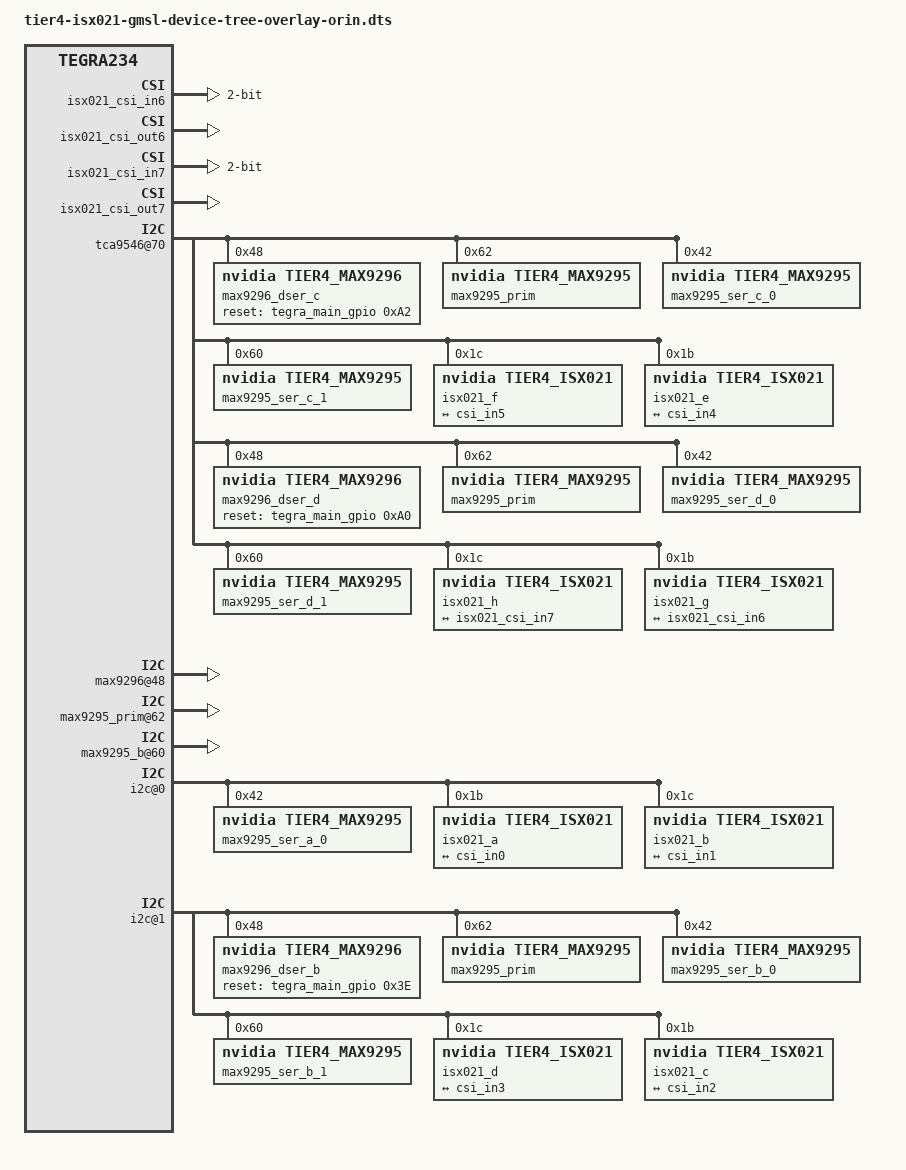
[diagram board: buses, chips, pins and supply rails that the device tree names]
/dts-v1/;
/plugin/;


//CAM0_RST_L 7 * 8 + 3, 0x3B
//CAM0_PWDN 7 * 8 + 6, 0x3E
//CAMERA_I2C_MUX_BUS 0x1E + x
//GPIO_ACTIVE_HIGH 0
//CAM1_RST_L 20 * 8 + 1, 0xA1

/ {
  overlay-name = "TIERIV ISX021 GMSL2 Camera Device Tree Overlay";
  jetson-header-name = "Jetson AGX CSI Connector";
  compatible = "nvidia,p3737-0000+p3701-0000", "nvidia,tegra234", "nvidia,tegra23x";

  fragment@1{
    target-path = "/tegra-capture-vi";
    __overlay__ {
      num-channels = <0x08>;
    };
  };

  fragment@1_a{
//    target-path = "/tegra-capture-vi/ports";
    target = <&capture_vi_base>;
    __overlay__ {
      ports {
        port@6 {
          reg = <6>;
          status = "okay";
          vi_in6: endpoint {
            status = "okay";
            vc-id = <0>;
            port-index = <5>;
            bus-width = <2>;
            remote-endpoint = <&isx021_csi_out6>;
          };
        };
      
        port@7 {
          reg = <7>;
          status = "okay";
          vi_in7: endpoint {
            status = "okay";
            vc-id = <1>;
            port-index = <5>;
            bus-width = <2>;
            remote-endpoint = <&isx021_csi_out7>;
          };
        };
      };  
    };  
  };  

  //diff view    
  fragment@2{
    target-path = "/tegra-capture-vi/ports/port@0";
    __overlay__ {
      status = "okay";
    };
  };

  fragment@3{
    target-path = "/tegra-capture-vi/ports/port@0/endpoint";
    __overlay__ {
      status = "okay";
      port-index = <0>;
      vc-id = <0>;
      bus-width = <2>;
    };
  };

  fragment@4{
    target-path = "/tegra-capture-vi/ports/port@1";
    __overlay__ {
      status = "okay";
    };
  };

  fragment@5{
    target-path = "/tegra-capture-vi/ports/port@1/endpoint";
    __overlay__ {
      status = "okay";
      port-index = <0>;
      vc-id = <1>;
      bus-width = <2>;
    };
  };
  
fragment@6{
    target-path = "/tegra-capture-vi/ports/port@2";
    __overlay__ {
      status = "okay";
    
  };
  };
  
  fragment@7{
    target-path = "/tegra-capture-vi/ports/port@2/endpoint";
    __overlay__ {
      status = "okay";
      vc-id = <0>;
      port-index = <2>;
      bus-width = <2>;
    };
  };
  
  fragment@8{
    target-path = "/tegra-capture-vi/ports/port@3";
    __overlay__ {
      status = "okay";
    };
  };
  
  fragment@9{
    target-path = "/tegra-capture-vi/ports/port@3/endpoint";
    __overlay__ {
      status = "okay";
      vc-id = <1>;
      port-index = <2>;
      bus-width = <2>;
    };
  };

  fragment@8a{
    target-path = "/tegra-capture-vi/ports/port@4";
    __overlay__ {
      status = "okay";
    };
  };
  
  fragment@9a{
    target-path = "/tegra-capture-vi/ports/port@4/endpoint";
    __overlay__ {
      status = "okay";
      vc-id = <0>;
      port-index = <4>;
      bus-width = <2>;
    };
  };

  fragment@8b{
    target-path = "/tegra-capture-vi/ports/port@5";
    __overlay__ {
      status = "okay";
    };
  };
  
  fragment@9b{
    target-path = "/tegra-capture-vi/ports/port@5/endpoint";
    __overlay__ {
      status = "okay";
      vc-id = <1>;
      port-index = <4>;
      bus-width = <2>;
    };
  };


/**********************/


  fragment@10{
    target-path = "/host1x@13e00000/nvcsi@15a00000/channel@0";
    __overlay__ {
      status = "okay";
    };
  };
  fragment@11{
    target-path = "/host1x@13e00000/nvcsi@15a00000/channel@0/ports/port@0";
    __overlay__ {
      status = "okay";
    };
  };
  fragment@12{
    // target = csi_in0
    target-path = "/host1x@13e00000/nvcsi@15a00000/channel@0/ports/port@0/endpoint@0";
    __overlay__ {
      status = "okay";
      bus-width = <0x02>;
      remote-endpoint = <&isx021_out0>;
    };
  };

  fragment@13{
    target-path = "/host1x@13e00000/nvcsi@15a00000/channel@0/ports/port@1";
    __overlay__ {
      status = "okay";
    };
  };

  fragment@14{
    // target = csi_out0
    target-path = "/host1x@13e00000/nvcsi@15a00000/channel@0/ports/port@1/endpoint@1";
    __overlay__ {
      status = "okay";
      remote-endpoint = <&vi_in0>;
    };
  };

  // channel@1
  fragment@15{
    target-path = "/host1x@13e00000/nvcsi@15a00000/channel@1";
    __overlay__ {
      status = "okay";
    };
  };
  fragment@16{
    target-path = "/host1x@13e00000/nvcsi@15a00000/channel@1/ports/port@0";
    __overlay__ {
      status = "okay";
    };
  };
  fragment@17{
    // target = csi_in1
    target-path = "/host1x@13e00000/nvcsi@15a00000/channel@1/ports/port@0/endpoint@2";
    __overlay__ {
      status = "okay";
      port-index = <0x00>;
      bus-width = <0x02>;
      remote-endpoint = <&isx021_out1>;
    };
  };

  fragment@18{
    // target = csi_out1
    target-path = "/host1x@13e00000/nvcsi@15a00000/channel@1/ports/port@1/endpoint@3";
    __overlay__ {
      status = "okay";
      remote-endpoint = <&vi_in1>;
    };
  };

  // channel@2
  fragment@19{
    target-path = "/host1x@13e00000/nvcsi@15a00000/channel@2";
    __overlay__ {
      status = "okay";
    };
  };
  fragment@20{
    target-path = "/host1x@13e00000/nvcsi@15a00000/channel@2/ports/port@0";
    __overlay__ {
      status = "okay";
    };
  };
  fragment@21{
    // target = csi_in0
    target-path = "/host1x@13e00000/nvcsi@15a00000/channel@2/ports/port@0/endpoint@4";
    __overlay__ {
      status = "okay";
      port-index = <2>;
      bus-width = <2>;
      remote-endpoint = <&isx021_out2>;
    };
  };

  fragment@22{
    target-path = "/host1x@13e00000/nvcsi@15a00000/channel@2/ports/port@1";
    __overlay__ {
      status = "okay";
    };
  };

  fragment@23{
    // target = csi_out0
    target-path = "/host1x@13e00000/nvcsi@15a00000/channel@2/ports/port@1/endpoint@5";
    __overlay__ {
      status = "okay";
      remote-endpoint = <&vi_in2>;
    };
  };

  // channel@3
  fragment@24{
    target-path = "/host1x@13e00000/nvcsi@15a00000/channel@3";
    __overlay__ {
      status = "okay";
    };
  };
  fragment@25{
    target-path = "/host1x@13e00000/nvcsi@15a00000/channel@3/ports/port@0";
    __overlay__ {
      status = "okay";
    };
  };
  fragment@26{
    // target = csi_in0
    target-path = "/host1x@13e00000/nvcsi@15a00000/channel@3/ports/port@0/endpoint@6";
    __overlay__ {
      status = "okay";
      port-index = <2>;
      bus-width = <2>;
      remote-endpoint = <&isx021_out3>;
    };
  };

  fragment@27{
    target-path = "/host1x@13e00000/nvcsi@15a00000/channel@3/ports/port@1";
    __overlay__ {
      status = "okay";
    };
  };

  fragment@28{
    // target = csi_out0
    target-path = "/host1x@13e00000/nvcsi@15a00000/channel@3/ports/port@1/endpoint@7";
    __overlay__ {
      status = "okay";
      remote-endpoint = <&vi_in3>;
    };
  };

  // channel@4
  fragment@24a{
    target-path = "/host1x@13e00000/nvcsi@15a00000/channel@4";
    __overlay__ {
      status = "okay";
    };
  };
  fragment@25a{
    target-path = "/host1x@13e00000/nvcsi@15a00000/channel@4/ports/port@0";
    __overlay__ {
      status = "okay";
    };
  };
  fragment@26a{
    // target = csi_in4
    target-path = "/host1x@13e00000/nvcsi@15a00000/channel@4/ports/port@0/endpoint@8";
    __overlay__ {
      status = "okay";
      port-index = <4>;
      bus-width = <2>;
      remote-endpoint = <&isx021_out4>;
    };
  };

  fragment@27a{
    target-path = "/host1x@13e00000/nvcsi@15a00000/channel@4/ports/port@1";
    __overlay__ {
      status = "okay";
    };
  };

  fragment@28a{
    // target = csi_out4
    target-path = "/host1x@13e00000/nvcsi@15a00000/channel@4/ports/port@1/endpoint@9";
    __overlay__ {
      status = "okay";
      remote-endpoint = <&vi_in4>;
    };
  };

  // channel@5
  fragment@24b{
    target-path = "/host1x@13e00000/nvcsi@15a00000/channel@5";
    __overlay__ {
      status = "okay";
    };
  };
  fragment@25b{
    target-path = "/host1x@13e00000/nvcsi@15a00000/channel@5/ports/port@0";
    __overlay__ {
      status = "okay";
    };
  };
  fragment@26b{
    // target = csi_in5
    target-path = "/host1x@13e00000/nvcsi@15a00000/channel@5/ports/port@0/endpoint@10";
    __overlay__ {
      status = "okay";
      port-index = <4>;
      bus-width = <2>;
      remote-endpoint = <&isx021_out5>;
    };
  };

  fragment@27b{
    target-path = "/host1x@13e00000/nvcsi@15a00000/channel@5/ports/port@1";
    __overlay__ {
      status = "okay";
    };
  };

  fragment@28b{
    // target = csi_out5
    target-path = "/host1x@13e00000/nvcsi@15a00000/channel@5/ports/port@1/endpoint@11";
    __overlay__ {
      status = "okay";
      remote-endpoint = <&vi_in5>;
    };
  };


  // channel@6-7
  fragment@29{
    target-path = "/host1x@13e00000/nvcsi@15a00000";
    __overlay__ {
      num-channels = <8>;
      max_lane_speed = <4000000>;
    };
  };

  fragment@29_a{
    target-path = "/host1x@13e00000/nvcsi@15a00000";
    __overlay__ {

      channel@6 {
        reg = <6>;
        status = "okay";
        ports {
          #address-cells = <1>;
          #size-cells = <0>;
          port@0 {
            status = "okay";
            reg = <0>;
            isx021_csi_in6: endpoint@12 {
              status = "okay";
              port-index = <5>;
              bus-width = <2>;
              remote-endpoint = <&isx021_out6>;
            };
          };
          port@1 {
            status = "okay";
            reg = <1>;
            isx021_csi_out6: endpoint@13 {
              status = "okay";
              remote-endpoint = <&vi_in6>;
            };
          };
        };
      };

      channel@7 {
        reg = <7>;
        status = "okay";
        ports {
          #address-cells = <1>;
          #size-cells = <0>;
          port@0 {
            status = "okay";
            reg = <0>;
            isx021_csi_in7: endpoint@14 {
              status = "okay";
              port-index = <5>;
              bus-width = <2>;
              remote-endpoint = <&isx021_out7>;
            };
          };
          port@1 {
            status = "okay";
            reg = <1>;
            isx021_csi_out7: endpoint@15 {
              status = "okay";
              remote-endpoint = <&vi_in7>;
            };
          };
        };
      };
    };
  };


  ////////////////////////////////////
  fragment@30{
    //tcp
    target-path = "/tegra-camera-platform";
    __overlay__ {
      num_csi_lanes = <0x04>;
      max_lane_speed = <4000000>;
    };
  };

  fragment@31{
    target-path = "/tegra-camera-platform/modules/module0";
    __overlay__ {
      badge = "isx021_rear";
      position = "rear";
      orientation = "1";
      status = "okay";
    };
  };

  fragment@32{
    target-path = "/tegra-camera-platform/modules/module0/drivernode0";
    __overlay__ {
      status = "okay";
      pcl_id = "v4l2_sensor";
      devname = "isx021 30-001b";
      proc-device-tree = "/proc/device-tree/i2c@3180000/tca9546@70/i2c@0/isx021_a@1b";
    };
  };

  fragment@33{
    target-path = "/tegra-camera-platform/modules/module1";
    __overlay__ {
      badge = "isx021_front";
      position = "front";
      orientation = "1";
      status = "okay";
    };
  };

  fragment@34{
    target-path = "/tegra-camera-platform/modules/module1/drivernode0";
    __overlay__ {
      status = "okay";
      pcl_id = "v4l2_sensor";
      devname = "isx021 30-001c";
      proc-device-tree = "/proc/device-tree/i2c@3180000/tca9546@70/i2c@0/isx021_b@1c";
    };
  };

  fragment@35{
    target-path = "/tegra-camera-platform/modules/module2";
    __overlay__ {
      badge = "isx021_topright";
      position = "topright";
      orientation = "1";
      status = "okay";
    };
  };

  fragment@36{
    target-path = "/tegra-camera-platform/modules/module2/drivernode0";
    __overlay__ {
      status = "okay";
      pcl_id = "v4l2_sensor";
      devname = "isx021 31-001b";
      proc-device-tree = "/proc/device-tree/i2c@3180000/tca9546@70/i2c@1/isx021_c@1b";
    };
  };

  fragment@37{
    target-path = "/tegra-camera-platform/modules/module3";
    __overlay__ {
      badge = "isx021_bottomright";
      position = "bottomright";
      orientation = "1";
      status = "okay";
    };
  };

  fragment@38{
    target-path = "/tegra-camera-platform/modules/module3/drivernode0";
    __overlay__ {
      status = "okay";
      pcl_id = "v4l2_sensor";
      devname = "isx021 31-001c";
      proc-device-tree = "/proc/device-tree/i2c@3180000/tca9546@70/i2c@1/isx021_d@1c";
    };
  };

  fragment@39{
    target-path = "/tegra-camera-platform/modules/module4";
    __overlay__ {
      badge = "isx021_topleft";
      position = "topleft";
      orientation = "1";
      status = "okay";
    };
  };

  fragment@40{
    target-path = "/tegra-camera-platform/modules/module4/drivernode0";
    __overlay__ {
      status = "okay";
      pcl_id = "v4l2_sensor";
      devname = "isx021 32-001b";
      proc-device-tree = "/proc/device-tree/i2c@3180000/tca9546@70/i2c@2/isx021_e@1b";
    };
  };

  fragment@41{
    target-path = "/tegra-camera-platform/modules/module5";
    __overlay__ {
      badge = "isx021_centerright";
      position = "centerright";
      orientation = "1";
      status = "okay";
    };
  };

  fragment@42{
    target-path = "/tegra-camera-platform/modules/module5/drivernode0";
    __overlay__ {
      status = "okay";
      pcl_id = "v4l2_sensor";
      devname = "isx021 32-001c";
      proc-device-tree = "/proc/device-tree/i2c@3180000/tca9546@70/i2c@2/isx021_f@1c";
    };
  };

  fragment@42a{
    target-path = "/tegra-camera-platform/modules";
    __overlay__ {
      module6 {
        badge = "isx021_centerleft";
        position = "centerleft";
        orientation = "1";
        status = "okay";
        drivernode0 {
          status = "okay";
          pcl_id = "v4l2_sensor";
          devname = "isx021 33-001b";
          proc-device-tree = "/proc/device-tree/i2c@3180000/tca9546@70/i2c@3/isx021_g@1b";
        };
      };

      module7 {
        badge = "isx021_bottomleft";
        position = "bottomleft";
        orientation = "1";
        status = "okay";
        drivernode0 {
          status = "okay";
          pcl_id = "v4l2_sensor";
          devname = "isx021 33-001c";
          proc-device-tree = "/proc/device-tree/i2c@3180000/tca9546@70/i2c@3/isx021_h@1c";
        };
      };
    };
  };

  // cam
  fragment@43{
    //cami2c/i2c@0
    target-path = "/i2c@3180000/tca9546@70";
    __overlay__ {
      status = "okay";
    };
  };

  fragment@44{
    //cami2c/i2c@0
    target-path = "/i2c@3180000/tca9546@70/i2c@0/max9296@48";
    __overlay__ {
      status = "okay";
      compatible = "nvidia,tier4_max9296";
    };
  };

  fragment@45{
    //cami2c/i2c@0
    target-path = "/i2c@3180000/tca9546@70/i2c@0/max9295_prim@62";
    __overlay__ {
      status = "okay";
      compatible = "nvidia,tier4_max9295";
    };
  };

  fragment@46{
    //cami2c/i2c@0
    target-path = "/i2c@3180000/tca9546@70/i2c@0/max9295_b@60";
    __overlay__ {
      status = "okay";
      compatible = "nvidia,tier4_max9295";
      nvidia,gmsl-dser-device = <&dser>;
    };
  };

  fragment@47{
    //cami2c/i2c@0
    target-path = "/i2c@3180000/tca9546@70/i2c@0";
    __overlay__ {
      max9295_ser_a_0: max9295_a@42 {
        compatible = "nvidia,tier4_max9295";
        reg = <0x42>;
        nvidia,gmsl-dser-device = <&max9296_dser>;
      };

      isx021_a@1b {
        //cvb
        status = "okay";
        def-addr = <0x1a>;
        mclk = "extperiph1";
        clocks = <&bpmp 36U>, <&bpmp 36U>;
        clock-names = "extperiph1", "pllp_grtba";
        nvidia,gmsl-ser-device = <&max9295_ser_a_0>;
        nvidia,gmsl-dser-device = <&max9296_dser>;

        // common modul;e
        compatible = "nvidia,tier4_isx021";
        reg = <0x1b>;

        /* Physical dimensions of sensor */
        physical_w = "15.0";
        physical_h = "12.5";
        reg_mux = <0>;
        sensor_model ="isx021";

        fsync-mode = "false";

        distortion-correction = "false";

        auto-exposure = "true";

        /* Defines number of frames to be dropped by driver internally after applying */
        /* sensor crop settings. Some sensors send corrupt frames after applying */
        /* crop co-ordinates */
        post_crop_frame_drop = "0";

        /* Convert Gain to unit of dB (decibel) befor passing to kernel driver */
        use_decibel_gain = "true";

        /* enable CID_SENSOR_MODE_ID for sensor modes selection */
        use_sensor_mode_id = "true";

        mode0 {
          /*mode ISX021_MODE_1920X1280_CROP_30FPS*/
          mclk_khz = "24000";
          num_lanes = "2";
          tegra_sinterface = "serial_a";
          vc_id = "0";
          discontinuous_clk = "no";
          dpcm_enable = "false";
          cil_settletime = "0";
          dynamic_pixel_bit_depth = "16";
          csi_pixel_bit_depth = "16";
          mode_type = "yuv";
          pixel_phase = "uyvy";

          active_w = "1920";
          active_h = "1280";
          readout_orientation = "0";
          line_length = "2250";
          inherent_gain = "1";

          pix_clk_hz = "74250000";
          serdes_pix_clk_hz =   "180000000";

          gain_factor = "10";
          min_gain_val = "0";                       /* dB */
          max_gain_val = "300";                         /* dB */
          step_gain_val = "3";                      /* 0.3 */
          default_gain = "0";
          min_hdr_ratio = "1";
          max_hdr_ratio = "1";
          framerate_factor = "1000000";
          min_framerate = "30000000";
          max_framerate = "30000000";
          step_framerate = "1";
          default_framerate = "30000000";
          exposure_factor = "1000000";
          min_exp_time = "24";                      /* us 1 line */
          max_exp_time = "33333";
          step_exp_time = "1";
          default_exp_time = "33333";                   /* us */
          embedded_metadata_height = "0";
        };
        ports {
          #address-cells = <1>;
          #size-cells = <0>;
          port@0 {
            reg = <0>;
            isx021_out0: endpoint {
              vc-id = <0>;
              port-index = <0>;
              bus-width = <2>;
              remote-endpoint = <&csi_in0>;
            };
          };
        };

        gmsl-link {
          src-csi-port = "b";       /* Port at which sensor is connected to its serializer device. */
          dst-csi-port = "a";       /* Destination CSI port on the Jetson side, connected at deserializer. */
          serdes-csi-link = "a";    /* GMSL link sensor/serializer connected */
          csi-mode = "1x4";     /*  to sensor CSI mode. */
          st-vc = <0>;          /* Sensor source default VC ID: 0 unless overridden by sensor. */
          vc-id = <0>;          /* Destination VC ID, assigned to sensor stream by deserializer. */
          num-lanes = <2>;      /* Number of CSI lanes used. */
          streams = "ued-u1", "yuv8"; /* Types of streams sensor is streaming. */
        };
      };

      isx021_b@1c {
        status = "okay";
        def-addr = <0x1a>;
        /* Define any required hw resources needed by driver */
        /* ie. clocks, io pins, power sources */
        clocks = <&bpmp 36U>, <&bpmp 36U>;
        clock-names = "extperiph1", "pllp_grtba";
        mclk = "extperiph1";
        nvidia,gmsl-ser-device = <&max9295_ser1>;
        nvidia,gmsl-dser-device = <&max9296_dser>;

        compatible = "nvidia,tier4_isx021";
        reg = <0x1c>;

        /* Physical dimensions of sensor */
        physical_w = "15.0";
        physical_h = "12.5";
        reg_mux = <0>;
        sensor_model ="isx021";

        fsync-mode = "false";

        distortion-correction = "false";

        auto-exposure = "true";

        /* Defines number of frames to be dropped by driver internally after applying */
        /* sensor crop settings. Some sensors send corrupt frames after applying */
        /* crop co-ordinates */
        post_crop_frame_drop = "0";

        /* Convert Gain to unit of dB (decibel) befor passing to kernel driver */
        use_decibel_gain = "true";

        /* enable CID_SENSOR_MODE_ID for sensor modes selection */
        use_sensor_mode_id = "true";

        mode0 {
          /*mode ISX021_MODE_1920X1280_CROP_30FPS*/
          mclk_khz = "24000";
          num_lanes = "2";
          tegra_sinterface = "serial_a";
          vc_id = "1";
          discontinuous_clk = "no";
          dpcm_enable = "false";
          cil_settletime = "0";
          dynamic_pixel_bit_depth = "16";
          csi_pixel_bit_depth = "16";
          mode_type = "yuv";
          pixel_phase = "uyvy";

          active_w = "1920";
          active_h = "1280";
          readout_orientation = "0";
          line_length = "2250";
          inherent_gain = "1";

          pix_clk_hz = "74250000";
          serdes_pix_clk_hz =   "180000000";

          gain_factor = "10";
          min_gain_val = "0";                           /* dB */
          max_gain_val = "300";                             /* dB */
          step_gain_val = "3";                          /* 0.3 */
          default_gain = "0";
          min_hdr_ratio = "1";
          max_hdr_ratio = "1";
          framerate_factor = "1000000";
          min_framerate = "30000000";
          max_framerate = "30000000";
          step_framerate = "1";
          default_framerate = "30000000";
          exposure_factor = "1000000";
          min_exp_time = "24";                          /* us 1 line */
          max_exp_time = "33333";
          step_exp_time = "1";
          default_exp_time = "33333";                       /* us */
          embedded_metadata_height = "0";
        };
        ports {
          #address-cells = <1>;
          #size-cells = <0>;
          port@0 {
            reg = <0>;
            isx021_out1: endpoint {
              vc-id = <1>;
              port-index = <0>;
              bus-width = <2>;
              remote-endpoint = <&csi_in1>;
            };
          };
        };
        gmsl-link {
          src-csi-port = "b";
          dst-csi-port = "a";
          serdes-csi-link = "b";
          csi-mode = "1x4";
          st-vc = <0>;
          vc-id = <1>;
          num-lanes = <2>;
          streams = "ued-u1","yuv8";
        };
      };
    };
  };


  fragment@48{
    target-path = "/i2c@3180000/tca9546@70/i2c@1";
    __overlay__ {
        reg = <1>;
        i2c-mux,deselect-on-exit;
        #address-cells = <0x01>;
        #size-cells = <0x00>;

        max9296_dser_b: max9296@48 {
          compatible = "nvidia,tier4_max9296";
          reg = <0x48>;
          status = "okay";
         csi-mode = "2x4";
          max-src = <2>;
          //reset-gpios = <&tegra_main_gpio CAM0_PWDN GPIO_ACTIVE_HIGH>;
          reset-gpios = <&tegra_main_gpio 0x3E 0x0>;
        };
        max9295_prim@62 {
          compatible = "nvidia,tier4_max9295";
          status = "okay";
          reg = <0x62>;
          is-prim-ser;
        };
        max9295_ser_b_0: max9295_a@42 {
          compatible = "nvidia,tier4_max9295";
          status = "okay";
          reg = <0x42>;
          nvidia,gmsl-dser-device = <&max9296_dser_b>;
        };
        max9295_ser_b_1: max9295_b@60 {
          compatible = "nvidia,tier4_max9295";
          status = "okay";
          reg = <0x60>;
          nvidia,gmsl-dser-device = <&max9296_dser_b>;
        };

        isx021_d@1c {
          compatible = "nvidia,tier4_isx021";
          reg = <0x1c>;
          status = "okay";
    
          def-addr = <0x1a>;
          /* Define any required hw resources needed by driver */
          /* ie. clocks, io pins, power sources */
          clocks = <&bpmp 36U>,
          <&bpmp 36U>;
          clock-names = "extperiph1", "pllp_grtba";
          mclk = "extperiph1";
          nvidia,gmsl-ser-device = <&max9295_ser_b_1>;
          nvidia,gmsl-dser-device = <&max9296_dser_b>;

          /* Physical dimensions of sensor */
          physical_w = "15.0";
          physical_h = "12.5";
          reg_mux = <1>;
          sensor_model ="isx021";

          fsync-mode = "false";

          distortion-correction = "false";

          auto-exposure = "true";

          /* Defines number of frames to be dropped by driver internally after applying */
          /* sensor crop settings. Some sensors send corrupt frames after applying */
          /* crop co-ordinates */
          post_crop_frame_drop = "0";

          /* Convert Gain to unit of dB (decibel) befor passing to kernel driver */
          use_decibel_gain = "true";

          /* enable CID_SENSOR_MODE_ID for sensor modes selection */
          use_sensor_mode_id = "true";

          mode0 {
            /*mode ISX021_MODE_1920X1280_CROP_30FPS*/
            mclk_khz = "24000";
            num_lanes = "2";
            tegra_sinterface = "serial_d";
            vc_id = "1";
            discontinuous_clk = "no";
            dpcm_enable = "false";
            cil_settletime = "0";
            dynamic_pixel_bit_depth = "16";
            csi_pixel_bit_depth = "16";
            mode_type = "yuv";
            pixel_phase = "uyvy";

            active_w = "1920";
            active_h = "1280";
            readout_orientation = "0";
            line_length = "2250";
            inherent_gain = "1";
            pix_clk_hz = "74250000";
            serdes_pix_clk_hz =   "180000000";

            gain_factor = "10";
            min_gain_val = "0"; /* dB */
            max_gain_val = "300"; /* dB */
            step_gain_val = "3"; /* 0.3 */
            default_gain = "0";
            min_hdr_ratio = "1";
            max_hdr_ratio = "1";
            framerate_factor = "1000000";
            min_framerate = "30000000";
            max_framerate = "30000000";
            step_framerate = "1";
            default_framerate = "30000000";
            exposure_factor = "1000000";
            min_exp_time = "24"; /* us 1 line */
            max_exp_time = "33333";
            step_exp_time = "1";
            default_exp_time = "33333";/* us */
            embedded_metadata_height = "0";
          };

          ports {
            #address-cells = <1>;
            #size-cells = <0>;
            port@0 {
              reg = <0>;
              isx021_out3: endpoint {
                vc-id = <1>;
                port-index = <2>;
                bus-width = <2>;
                remote-endpoint = <&csi_in3>;
              };
            };
          };
          gmsl-link {
            src-csi-port = "b";
            dst-csi-port = "a";
            serdes-csi-link = "b";
            csi-mode = "1x4";
            st-vc = <0>;
            vc-id = <1>;
            num-lanes = <2>;
            streams = "ued-u1","yuv8";
          };
        };
        isx021_c@1b {
          compatible = "nvidia,tier4_isx021";

          def-addr = <0x1a>;
          /* Define any required hw resources needed by driver */
          /* ie. clocks, io pins, power sources */
          clocks = <&bpmp 36U>,
          <&bpmp 36U>;
          clock-names = "extperiph1", "pllp_grtba";
          mclk = "extperiph1";
          nvidia,gmsl-ser-device = <&max9295_ser_b_0>;
          nvidia,gmsl-dser-device = <&max9296_dser_b>;

          reg = <0x1b>;
          status = "okay";

          /* Physical dimensions of sensor */
          physical_w = "15.0";
          physical_h = "12.5";
          reg_mux = <1>;
          sensor_model ="isx021";

          fsync-mode = "false";

          distortion-correction = "false";

          auto-exposure = "true";

          /* Defines number of frames to be dropped by driver internally after applying */
          /* sensor crop settings. Some sensors send corrupt frames after applying */
          /* crop co-ordinates */
          post_crop_frame_drop = "0";

          /* Convert Gain to unit of dB (decibel) befor passing to kernel driver */
          use_decibel_gain = "true";

          /* enable CID_SENSOR_MODE_ID for sensor modes selection */
          use_sensor_mode_id = "true";

          mode0 {
            /*mode ISX021_MODE_1920X1280_CROP_30FPS*/
            mclk_khz = "24000";
            num_lanes = "2";
            tegra_sinterface = "serial_c";
            vc_id = "0";
            discontinuous_clk = "no";
            dpcm_enable = "false";
            cil_settletime = "0";
            dynamic_pixel_bit_depth = "16";
            csi_pixel_bit_depth = "16";
            mode_type = "yuv";
            pixel_phase = "uyvy";

            active_w = "1920";
            active_h = "1280";
            readout_orientation = "0";
            line_length = "2250";
            inherent_gain = "1";
            pix_clk_hz = "74250000";
            serdes_pix_clk_hz =   "180000000";

            gain_factor = "10";
            min_gain_val = "0"; /* dB */
            max_gain_val = "300"; /* dB */
            step_gain_val = "3"; /* 0.3 */
            default_gain = "0";
            min_hdr_ratio = "1";
            max_hdr_ratio = "1";
            framerate_factor = "1000000";
            min_framerate = "30000000";
            max_framerate = "30000000";
            step_framerate = "1";
            default_framerate = "30000000";
            exposure_factor = "1000000";
            min_exp_time = "24"; /* us 1 line */
            max_exp_time = "33333";
            step_exp_time = "1";
            default_exp_time = "33333";/* us */
            embedded_metadata_height = "0";
          };

          ports {
            #address-cells = <1>;
            #size-cells = <0>;
            port@0 {
              reg = <0>;
              isx021_out2: endpoint {
                vc-id = <0>;
                port-index = <2>;
                bus-width = <2>;
                remote-endpoint = <&csi_in2>;
              };
            };
          };

          gmsl-link {
            src-csi-port = "b";             /* Port at which sensor  is connected to its serializer device. */
            dst-csi-port = "a";             /* Destination CSI port on the Jetson side, connected at deserializer. */
            serdes-csi-link = "a";          /* GMSL link sensor/serializer connected */
            csi-mode = "1x4";               /*  to sensor CSI mode. */
            st-vc = <0>;                    /* Sensor source default VC ID: 0 unless overridden by sensor. */
            vc-id = <0>;                    /* Destination VC ID, assigned to sensor stream by deserializer. */
            num-lanes = <2>;                /* Number of CSI lanes used. */
            streams = "ued-u1","yuv8";              /* Types of streams sensor is streaming. */
          };
        };
      };
  };

  fragment@49{
    target-path = "/i2c@3180000/tca9546@70";
    __overlay__ {
      i2c@2 {
        reg = <2>;
        i2c-mux,deselect-on-exit;
        #address-cells = <0x01>;
        #size-cells = <0x00>;

        max9296_dser_c: max9296@48 {
          compatible = "nvidia,tier4_max9296";
          reg = <0x48>;
          status = "okay";
          csi-mode = "2x4";
          max-src = <2>;
          //reset-gpios = <&tegra_main_gpio CAM0_PWDN GPIO_ACTIVE_HIGH>;
          reset-gpios = <&tegra_main_gpio 0xA2 0x0>;
        };
        max9295_prim@62 {
          compatible = "nvidia,tier4_max9295";
          status = "okay";
          reg = <0x62>;
          is-prim-ser;
        };
        max9295_ser_c_0: max9295_a@42 {
          compatible = "nvidia,tier4_max9295";
          status = "okay";
          reg = <0x42>;
          nvidia,gmsl-dser-device = <&max9296_dser_c>;
        };
        max9295_ser_c_1: max9295_b@60 {
          compatible = "nvidia,tier4_max9295";
          status = "okay";
          reg = <0x60>;
          nvidia,gmsl-dser-device = <&max9296_dser_c>;
        };

        isx021_f@1c {
          compatible = "nvidia,tier4_isx021";
          reg = <0x1c>;
          status = "okay";

          def-addr = <0x1a>;
          /* Define any required hw resources needed by driver */
          /* ie. clocks, io pins, power sources */
          clocks = <&bpmp 36U>,
          <&bpmp 36U>;
          clock-names = "extperiph1", "pllp_grtba";
          mclk = "extperiph1";
          nvidia,gmsl-ser-device = <&max9295_ser_c_1>;
          nvidia,gmsl-dser-device = <&max9296_dser_c>;

          /* Physical dimensions of sensor */
          physical_w = "15.0";
          physical_h = "12.5";
          reg_mux = <2>;
          sensor_model ="isx021";

          fsync-mode = "false";

          distortion-correction = "false";

          auto-exposure = "true";

          /* Defines number of frames to be dropped by driver internally after applying */
          /* sensor crop settings. Some sensors send corrupt frames after applying */
          /* crop co-ordinates */
          post_crop_frame_drop = "0";

          /* Convert Gain to unit of dB (decibel) befor passing to kernel driver */
          use_decibel_gain = "true";

          /* enable CID_SENSOR_MODE_ID for sensor modes selection */
          use_sensor_mode_id = "true";

          mode0 {
            /*mode ISX021_MODE_1920X1280_CROP_30FPS*/
            mclk_khz = "24000";
            num_lanes = "2";
            tegra_sinterface = "serial_d";
            vc_id = "1";
            discontinuous_clk = "no";
            dpcm_enable = "false";
            cil_settletime = "0";
            dynamic_pixel_bit_depth = "16";
            csi_pixel_bit_depth = "16";
            mode_type = "yuv";
            pixel_phase = "uyvy";

            active_w = "1920";
            active_h = "1280";
            readout_orientation = "0";
            line_length = "2250";
            inherent_gain = "1";
            pix_clk_hz = "74250000";
            serdes_pix_clk_hz =   "180000000";

            gain_factor = "10";
            min_gain_val = "0"; /* dB */
            max_gain_val = "300"; /* dB */
            step_gain_val = "3"; /* 0.3 */
            default_gain = "0";
            min_hdr_ratio = "1";
            max_hdr_ratio = "1";
            framerate_factor = "1000000";
            min_framerate = "30000000";
            max_framerate = "30000000";
            step_framerate = "1";
            default_framerate = "30000000";
            exposure_factor = "1000000";
            min_exp_time = "24"; /* us 1 line */
            max_exp_time = "33333";
            step_exp_time = "1";
            default_exp_time = "33333";/* us */
            embedded_metadata_height = "0";
          };

          ports {
            #address-cells = <1>;
            #size-cells = <0>;
            port@0 {
              reg = <0>;
              isx021_out5: endpoint {
                vc-id = <1>;
                port-index = <4>;
                bus-width = <2>;
                remote-endpoint = <&csi_in5>;
              };
            };
          };
          gmsl-link {
            src-csi-port = "b";
            dst-csi-port = "a";
            serdes-csi-link = "b";
            csi-mode = "1x4";
            st-vc = <0>;
            vc-id = <1>;
            num-lanes = <2>;
            streams = "ued-u1","yuv8";
          };
        };

        isx021_e@1b {
          compatible = "nvidia,tier4_isx021";

          def-addr = <0x1a>;
          /* Define any required hw resources needed by driver */
          /* ie. clocks, io pins, power sources */
          clocks = <&bpmp 36U>,
          <&bpmp 36U>;
          clock-names = "extperiph1", "pllp_grtba";
          mclk = "extperiph1";
          nvidia,gmsl-ser-device = <&max9295_ser_c_0>;
          nvidia,gmsl-dser-device = <&max9296_dser_c>;

          reg = <0x1b>;
          status = "okay";

          /* Physical dimensions of sensor */
          physical_w = "15.0";
          physical_h = "12.5";
          reg_mux = <2>;
          sensor_model ="isx021";

          fsync-mode = "false";

          distortion-correction = "false";

          auto-exposure = "true";

          /* Defines number of frames to be dropped by driver internally after applying */
          /* sensor crop settings. Some sensors send corrupt frames after applying */
          /* crop co-ordinates */
          post_crop_frame_drop = "0";

          /* Convert Gain to unit of dB (decibel) befor passing to kernel driver */
          use_decibel_gain = "true";

          /* enable CID_SENSOR_MODE_ID for sensor modes selection */
          use_sensor_mode_id = "true";

          mode0 {
            /*mode ISX021_MODE_1920X1280_CROP_30FPS*/
            mclk_khz = "24000";
            num_lanes = "2";
            tegra_sinterface = "serial_c";
            vc_id = "0";
            discontinuous_clk = "no";
            dpcm_enable = "false";
            cil_settletime = "0";
            dynamic_pixel_bit_depth = "16";
            csi_pixel_bit_depth = "16";
            mode_type = "yuv";
            pixel_phase = "uyvy";

            active_w = "1920";
            active_h = "1280";
            readout_orientation = "0";
            line_length = "2250";
            inherent_gain = "1";
            pix_clk_hz = "74250000";
            serdes_pix_clk_hz =   "180000000";

            gain_factor = "10";
            min_gain_val = "0"; /* dB */
            max_gain_val = "300"; /* dB */
            step_gain_val = "3"; /* 0.3 */
            default_gain = "0";
            min_hdr_ratio = "1";
            max_hdr_ratio = "1";
            framerate_factor = "1000000";
            min_framerate = "30000000";
            max_framerate = "30000000";
            step_framerate = "1";
            default_framerate = "30000000";
            exposure_factor = "1000000";
            min_exp_time = "24"; /* us 1 line */
            max_exp_time = "33333";
            step_exp_time = "1";
            default_exp_time = "33333";/* us */
            embedded_metadata_height = "0";
          };

          ports {
            #address-cells = <1>;
            #size-cells = <0>;
            port@0 {
              reg = <0>;
              isx021_out4: endpoint {
                vc-id = <0>;
                port-index = <4>;
                bus-width = <2>;
                remote-endpoint = <&csi_in4>;
              };
            };
          };

          gmsl-link {
            src-csi-port = "b";             /* Port at which sensor  is connected to its serializer device. */
            dst-csi-port = "a";             /* Destination CSI port on the Jetson side, connected at deserializer. */
            serdes-csi-link = "a";          /* GMSL link sensor/serializer connected */
            csi-mode = "1x4";               /*  to sensor CSI mode. */
            st-vc = <0>;                    /* Sensor source default VC ID: 0 unless overridden by sensor. */
            vc-id = <0>;                    /* Destination VC ID, assigned to sensor stream by deserializer. */
            num-lanes = <2>;                /* Number of CSI lanes used. */
            streams = "ued-u1","yuv8";              /* Types of streams sensor is streaming. */
          };
        };
      };

      i2c@3 {
        reg = <3>;
        i2c-mux,deselect-on-exit;
        #address-cells = <0x01>;
        #size-cells = <0x00>;

        max9296_dser_d: max9296@48 {
          compatible = "nvidia,tier4_max9296";
          reg = <0x48>;
          status = "okay";
          csi-mode = "2x4";
          max-src = <2>;
          //reset-gpios = <&tegra_main_gpio CAM0_PWDN GPIO_ACTIVE_HIGH>;
          reset-gpios = <&tegra_main_gpio 0xA0 0x0>;
        };
        max9295_prim@62 {
          compatible = "nvidia,tier4_max9295";
          status = "okay";
          reg = <0x62>;
          is-prim-ser;
        };
        max9295_ser_d_0: max9295_a@42 {
          compatible = "nvidia,tier4_max9295";
          status = "okay";
          reg = <0x42>;
          nvidia,gmsl-dser-device = <&max9296_dser_d>;
        };
        max9295_ser_d_1: max9295_b@60 {
          compatible = "nvidia,tier4_max9295";
          status = "okay";
          reg = <0x60>;
          nvidia,gmsl-dser-device = <&max9296_dser_d>;
        };

        isx021_h@1c {
          compatible = "nvidia,tier4_isx021";
          reg = <0x1c>;
          status = "okay";

          def-addr = <0x1a>;
          /* Define any required hw resources needed by driver */
          /* ie. clocks, io pins, power sources */
          clocks = <&bpmp 36U>,
          <&bpmp 36U>;
          clock-names = "extperiph1", "pllp_grtba";
          mclk = "extperiph1";
          nvidia,gmsl-ser-device = <&max9295_ser_d_1>;
          nvidia,gmsl-dser-device = <&max9296_dser_d>;

          /* Physical dimensions of sensor */
          physical_w = "15.0";
          physical_h = "12.5";
          reg_mux = <3>;
          sensor_model ="isx021";

          fsync-mode = "false";

          distortion-correction = "false";

          auto-exposure = "true";

          /* Defines number of frames to be dropped by driver internally after applying */
          /* sensor crop settings. Some sensors send corrupt frames after applying */
          /* crop co-ordinates */
          post_crop_frame_drop = "0";

          /* Convert Gain to unit of dB (decibel) befor passing to kernel driver */
          use_decibel_gain = "true";

          /* enable CID_SENSOR_MODE_ID for sensor modes selection */
          use_sensor_mode_id = "true";

          mode0 {
            /*mode ISX021_MODE_1920X1280_CROP_30FPS*/
            mclk_khz = "24000";
            num_lanes = "2";
            tegra_sinterface = "serial_d";
            vc_id = "1";
            discontinuous_clk = "no";
            dpcm_enable = "false";
            cil_settletime = "0";
            dynamic_pixel_bit_depth = "16";
            csi_pixel_bit_depth = "16";
            mode_type = "yuv";
            pixel_phase = "uyvy";

            active_w = "1920";
            active_h = "1280";
            readout_orientation = "0";
            line_length = "2250";
            inherent_gain = "1";
            pix_clk_hz = "74250000";
            serdes_pix_clk_hz =   "180000000";

            gain_factor = "10";
            min_gain_val = "0"; /* dB */
            max_gain_val = "300"; /* dB */
            step_gain_val = "3"; /* 0.3 */
            default_gain = "0";
            min_hdr_ratio = "1";
            max_hdr_ratio = "1";
            framerate_factor = "1000000";
            min_framerate = "30000000";
            max_framerate = "30000000";
            step_framerate = "1";
            default_framerate = "30000000";
            exposure_factor = "1000000";
            min_exp_time = "24"; /* us 1 line */
            max_exp_time = "33333";
            step_exp_time = "1";
            default_exp_time = "33333";/* us */
            embedded_metadata_height = "0";
          };

          ports {
            #address-cells = <1>;
            #size-cells = <0>;
            port@0 {
              reg = <0>;
              isx021_out7: endpoint {
                vc-id = <1>;
                port-index = <5>;
                bus-width = <2>;
                remote-endpoint = <&isx021_csi_in7>;
              };
            };
          };
          gmsl-link {
            src-csi-port = "b";
            dst-csi-port = "a";
            serdes-csi-link = "b";
            csi-mode = "1x4";
            st-vc = <0>;
            vc-id = <1>;
            num-lanes = <2>;
            streams = "ued-u1","yuv8";
          };
        };

        isx021_g@1b {
          compatible = "nvidia,tier4_isx021";

          def-addr = <0x1a>;
          /* Define any required hw resources needed by driver */
          /* ie. clocks, io pins, power sources */
          clocks = <&bpmp 36U>,
          <&bpmp 36U>;
          clock-names = "extperiph1", "pllp_grtba";
          mclk = "extperiph1";
          nvidia,gmsl-ser-device = <&max9295_ser_d_0>;
          nvidia,gmsl-dser-device = <&max9296_dser_d>;

          reg = <0x1b>;
          status = "okay";

          /* Physical dimensions of sensor */
          physical_w = "15.0";
          physical_h = "12.5";
          reg_mux = <3>;
          sensor_model ="isx021";

          fsync-mode = "false";

          distortion-correction = "false";

          auto-exposure = "true";

          /* Defines number of frames to be dropped by driver internally after applying */
          /* sensor crop settings. Some sensors send corrupt frames after applying */
          /* crop co-ordinates */
          post_crop_frame_drop = "0";

          /* Convert Gain to unit of dB (decibel) befor passing to kernel driver */
          use_decibel_gain = "true";

          /* enable CID_SENSOR_MODE_ID for sensor modes selection */
          use_sensor_mode_id = "true";

          mode0 {
            /*mode ISX021_MODE_1920X1280_CROP_30FPS*/
            mclk_khz = "24000";
            num_lanes = "2";
            tegra_sinterface = "serial_c";
            vc_id = "0";
            discontinuous_clk = "no";
            dpcm_enable = "false";
            cil_settletime = "0";
            dynamic_pixel_bit_depth = "16";
            csi_pixel_bit_depth = "16";
            mode_type = "yuv";
            pixel_phase = "uyvy";

            active_w = "1920";
            active_h = "1280";
            readout_orientation = "0";
            line_length = "2250";
            inherent_gain = "1";
            pix_clk_hz = "74250000";
            serdes_pix_clk_hz =   "180000000";

            gain_factor = "10";
            min_gain_val = "0"; /* dB */
            max_gain_val = "300"; /* dB */
            step_gain_val = "3"; /* 0.3 */
            default_gain = "0";
            min_hdr_ratio = "1";
            max_hdr_ratio = "1";
            framerate_factor = "1000000";
            min_framerate = "30000000";
            max_framerate = "30000000";
            step_framerate = "1";
            default_framerate = "30000000";
            exposure_factor = "1000000";
            min_exp_time = "24"; /* us 1 line */
            max_exp_time = "33333";
            step_exp_time = "1";
            default_exp_time = "33333";/* us */
            embedded_metadata_height = "0";
          };

          ports {
            #address-cells = <1>;
            #size-cells = <0>;
            port@0 {
              reg = <0>;
              isx021_out6: endpoint {
                vc-id = <0>;
                port-index = <5>;
                bus-width = <2>;
                remote-endpoint = <&isx021_csi_in6>;
              };
            };
          };

          gmsl-link {
            src-csi-port = "b";             /* Port at which sensor  is connected to its serializer device. */
            dst-csi-port = "a";             /* Destination CSI port on the Jetson side, connected at deserializer. */
            serdes-csi-link = "a";          /* GMSL link sensor/serializer connected */
            csi-mode = "1x4";               /*  to sensor CSI mode. */
            st-vc = <0>;                    /* Sensor source default VC ID: 0 unless overridden by sensor. */
            vc-id = <0>;                    /* Destination VC ID, assigned to sensor stream by deserializer. */
            num-lanes = <2>;                /* Number of CSI lanes used. */
            streams = "ued-u1","yuv8";              /* Types of streams sensor is streaming. */
          };
        };
      };
    };
  };
  
};
